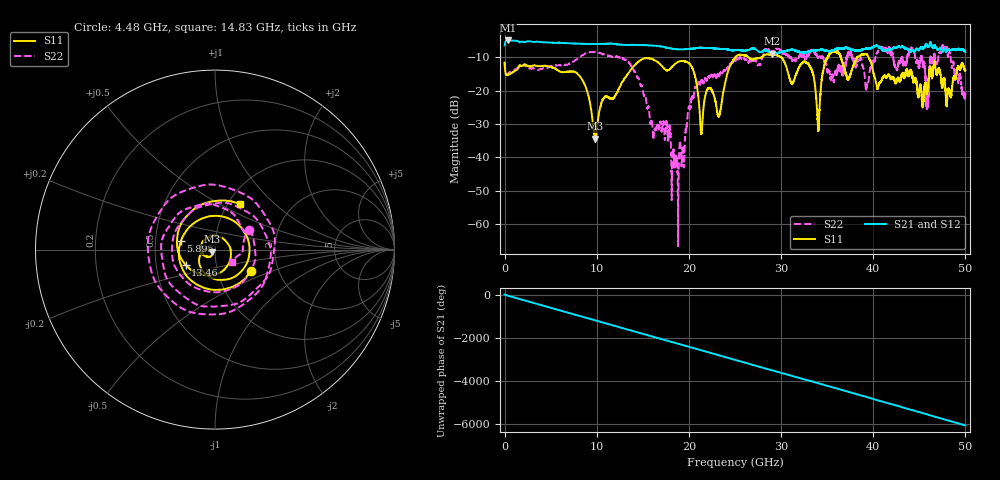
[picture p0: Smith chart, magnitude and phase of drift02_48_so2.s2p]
!Created with skrf (http://scikit-rf.org).
# Hz S RI R 50.0
!freq ReS11 ImS11 ReS21 ImS21 ReS12 ImS12 ReS22 ImS22
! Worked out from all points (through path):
!   10001 points, 300 kHz to 50 GHz, reference 50 ohm
!   highest |S21| = -5.04 dB at 375.3 MHz (marker M1); lowest = -9.0 dB at 29.01 GHz (marker M2)
!   group delay of S21, straight-line fit = 336 ps
!   lowest |S11| = -34.4 dB at 9.845 GHz (marker M3), VSWR 1.04, Z = 48.5 - j1.08 ohm
!   |S11| at or under -10 dB: start of sweep to 25.06 GHz; 29.97 GHz to 35.05 GHz (5.081 GHz wide, 15.6 % of centre); 39.48 GHz to end of sweep (the widest 3 of 13)
!   |S22| runs from -66.5 to -6.5 dB; largest |S21 - S12| = 0.023
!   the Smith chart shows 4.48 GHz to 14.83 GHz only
!   S11 on the Smith chart (normalised r, x): 4.48 GHz: 1.45, -0.36; 5.895 GHz: 0.68, +0.07; 13.46 GHz: 0.71, -0.13; 14.83 GHz: 1.14, +0.63
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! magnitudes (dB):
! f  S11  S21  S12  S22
! 300 kHz  -11.7  -6.5  -6.4  -11.6
! 375.3 MHz  -15.3  -5.0  -5.0  -14.9
! 4.48 GHz  -12.6  -5.6  -5.6  -13.2
! 5.895 GHz  -14.2  -5.7  -5.7  -12.4
! 8.335 GHz  -16.4  -6.0  -6.0  -9.6
! 9.845 GHz  -34.4  -6.1  -6.1  -8.5
! 13.46 GHz  -14.7  -6.4  -6.4  -11.6
! 14.83 GHz  -10.8  -6.4  -6.4  -18.6
! 16.67 GHz  -11.6  -6.7  -6.7  -30.9
! 18.66 GHz  -11.7  -7.7  -7.7  -40.4
! 20.37 GHz  -13.3  -7.5  -7.5  -22.0
! 21.37 GHz  -32.6  -7.2  -7.2  -16.9
! 23.31 GHz  -27.3  -7.5  -7.6  -15.6
! 25 GHz  -10.3  -7.9  -8.0  -11.2
! 29.01 GHz  -9.1  -9.0  -9.0  -8.2
! 33.34 GHz  -13.9  -8.0  -8.1  -8.1
! 34.02 GHz  -32.2  -7.9  -7.9  -10.1
! 35.54 GHz  -8.4  -8.1  -8.1  -15.4
! 41.67 GHz  -15.4  -7.6  -7.7  -7.5
! 45.87 GHz  -20.3  -6.8  -6.9  -24.5
! 47.76 GHz  -17.2  -7.5  -7.5  -7.7
! 50 GHz  -14.0  -8.4  -8.3  -20.4
